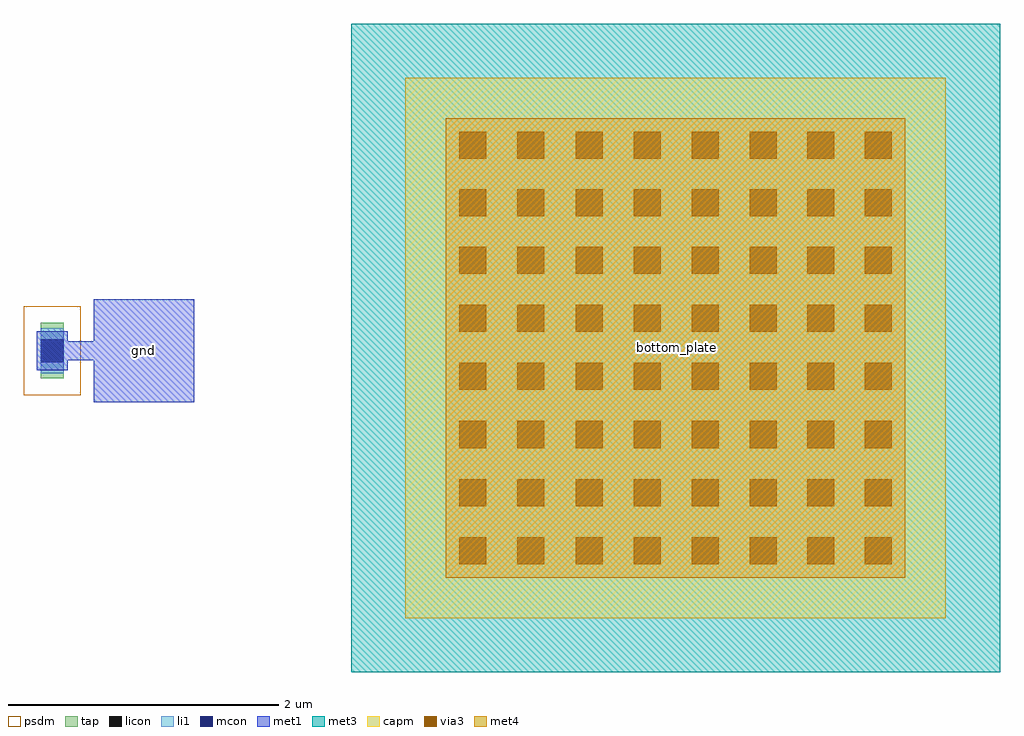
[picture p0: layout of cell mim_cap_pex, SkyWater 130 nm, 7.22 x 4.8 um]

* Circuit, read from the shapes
.subckt mim_cap_pex bottom_plate gnd top_plate
XC1 top_plate bottom_plate sky130_fd_pr__cap_mim_m3_1 w=4 l=4
.ends

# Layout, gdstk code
import gdstk
lib = gdstk.Library(unit=1e-6, precision=1e-09)
def R(c, l, rs):  # rectangles x0, y0, x1, y1
    for r in rs: c.add(gdstk.rectangle(r[:2], r[2:], *l))
def A(c, l, x, y, w, h, nx, ny, dx, dy):  # array of equal rectangles
    R(c, l, [(x+i*dx, y+j*dy, x+i*dx+w, y+j*dy+h) for i in range(nx) for j in range(ny)])
tap = (65, 44)
licon = (66, 44)
li1 = (67, 20)
mcon = (67, 44)
met1 = (68, 20)
met3 = (70, 20)
via3 = (70, 44)
met4 = (71, 20)
capm = (89, 44)
psdm = (94, 20)

cap_mim_m3__base__2 = lib.new_cell('cap_mim_m3__base$$2')
R(cap_mim_m3__base__2, met3, [(-0.4,-0.4,4.4,4.4)])
A(cap_mim_m3__base__2, via3, 0.4, 0.4, 0.2, 0.2, 6, 6, 0.43, 0.43)
A(cap_mim_m3__base__2, via3, 2.975, 0.4, 0.2, 0.2, 1, 6, 0, 0.43)
A(cap_mim_m3__base__2, via3, 3.4, 0.4, 0.2, 0.2, 1, 6, 0, 0.43)
A(cap_mim_m3__base__2, via3, 0.4, 2.975, 0.2, 0.2, 6, 2, 0.43, 0.425)
R(cap_mim_m3__base__2, via3, [(2.975,2.975,3.175,3.175), (3.4,2.975,3.6,3.175), (2.975,3.4,3.175,3.6), (3.4,3.4,3.6,3.6)])
R(cap_mim_m3__base__2, met4, [(0.3,0.3,3.7,3.7)])
R(cap_mim_m3__base__2, capm, [(0,0,4,4)])
cap_mim_m3__base__2.add(gdstk.Label('MINUS', (2,2), layer=70, texttype=20))
cap_mim_m3__base__2.add(gdstk.Label('PLUS', (2,2), layer=71, texttype=20))

subtap__1 = lib.new_cell('subTap$$1')
R(subtap__1, tap, [(-0.085,-0.205,0.085,0.205)])
R(subtap__1, licon, [(-0.085,-0.085,0.085,0.085)])
R(subtap__1, li1, [(-0.085,-0.165,0.085,0.165)])
R(subtap__1, mcon, [(-0.085,-0.085,0.085,0.085)])
R(subtap__1, met1, [(-0.115,-0.145,0.115,0.145)])
R(subtap__1, psdm, [(-0.21,-0.33,0.21,0.33)])

mim_cap_pex = lib.new_cell('mim_cap_pex')
R(mim_cap_pex, met1, [(1.17,6.695,1.915,7.455)])
R(mim_cap_pex, met3, [(5.165,6.785,5.795,7.415)])
R(mim_cap_pex, met4, [(5.23,6.83,5.72,7.36)])
mim_cap_pex.add(gdstk.FlexPath([(0.865,7.075),(1.17,7.075)], 0.14, ends="flush", simple_path=True, layer=68, datatype=20))  # met1
mim_cap_pex.add(gdstk.Reference(cap_mim_m3__base__2, (3.475,5.095)))
mim_cap_pex.add(gdstk.Reference(subtap__1, (0.865,7.075)))
mim_cap_pex.add(gdstk.Label('bottom_plate', (5.48,7.1), layer=70, texttype=20))
mim_cap_pex.add(gdstk.Label('top_plate', (5.475,7.095), layer=71, texttype=20))
mim_cap_pex.add(gdstk.Label('top_plate', (5.465,7.105), layer=71, texttype=5))
mim_cap_pex.add(gdstk.Label('gnd', (1.542,7.075), layer=68, texttype=20))
mim_cap_pex.add(gdstk.Label('gnd', (1.57,7.11), layer=68, texttype=5))
mim_cap_pex.add(gdstk.Label('bottom_plate', (5.495,7), layer=70, texttype=5))

lib.write_gds('mim_cap_pex.gds')
